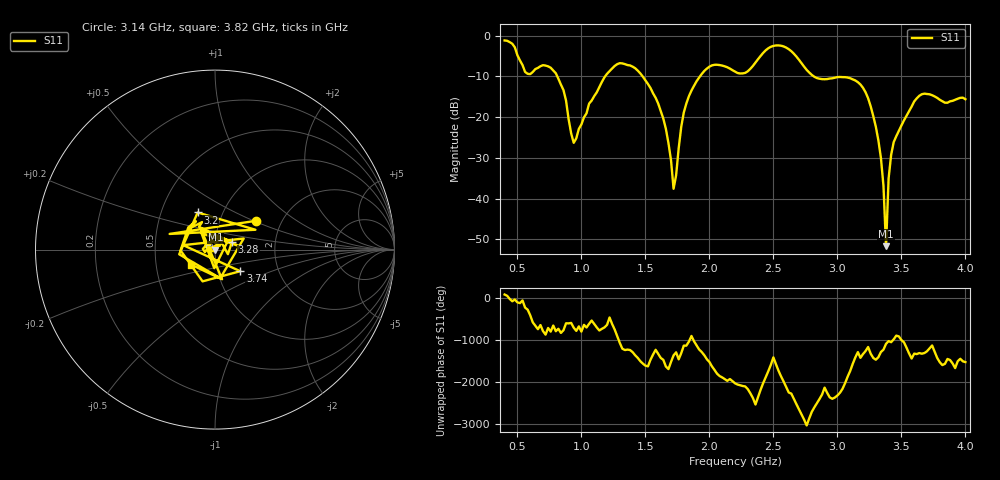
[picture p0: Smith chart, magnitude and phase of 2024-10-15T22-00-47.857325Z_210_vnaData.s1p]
! Created with skrf (http://scikit-rf.org).
# Hz S RI R 50.0
!freq ReS11 ImS11
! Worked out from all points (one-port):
!   181 points, 400 MHz to 4 GHz, reference 50 ohm
!   lowest |S11| = -51.7 dB at 3.38 GHz (marker M1), VSWR 1.01, Z = 50.3 - j0.00397 ohm
!   |S11| at or under -10 dB: 811.1 MHz to 1.186 GHz (374.8 MHz wide, 37.5 % of centre); 1.478 GHz to 1.927 GHz (449.3 MHz wide, 26.4 % of centre); 2.815 GHz to end of sweep
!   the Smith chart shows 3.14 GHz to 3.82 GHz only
!   S11 on the Smith chart (normalised r, x): 3.14 GHz: 1.49, +0.52; 3.2 GHz: 0.76, +0.33; 3.28 GHz: 1.20, +0.10; 3.74 GHz: 1.28, -0.32; 3.82 GHz: 0.76, -0.13
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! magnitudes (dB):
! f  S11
! 400 MHz  -1.2
! 560 MHz  -8.9
! 740 MHz  -7.6
! 860 MHz  -13.4
! 940 MHz  -26.3
! 1.3 GHz  -6.8
! 1.6 GHz  -16.7
! 1.68 GHz  -26.4
! 1.72 GHz  -37.6
! 1.76 GHz  -27.7
! 1.82 GHz  -16.7
! 1.92 GHz  -10.3
! 2.2 GHz  -8.9
! 2.66 GHz  -4.5
! 2.84 GHz  -10.4
! 3.1 GHz  -10.5
! 3.14 GHz  -11.0
! 3.2 GHz  -12.8
! 3.28 GHz  -19.7
! 3.34 GHz  -30.0
! 3.36 GHz  -36.9
! 3.38 GHz  -51.7
! 3.4 GHz  -35.1
! 3.42 GHz  -29.3
! 3.56 GHz  -18.6
! 3.74 GHz  -14.6
! 3.82 GHz  -16.1
! 4 GHz  -15.6
